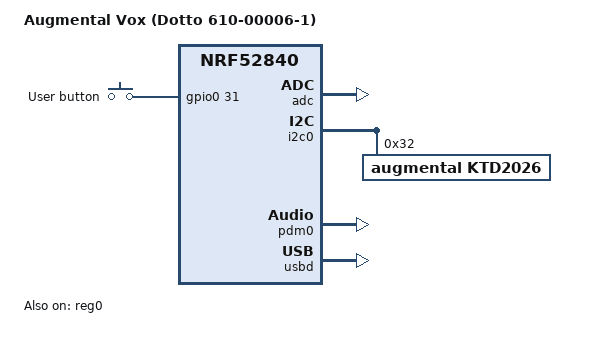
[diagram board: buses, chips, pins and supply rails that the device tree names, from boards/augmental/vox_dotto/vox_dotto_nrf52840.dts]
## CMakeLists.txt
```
#
# Copyright (c) 2018 Nordic Semiconductor
#
# SPDX-License-Identifier: LicenseRef-Nordic-5-Clause
#
cmake_minimum_required(VERSION 3.20.0)

find_package(Zephyr REQUIRED HINTS $ENV{ZEPHYR_BASE})
project(mouthpad_usb)

# Read VERSION file from repository root (two levels up from ncs/app)
set(VERSION_FILE "${CMAKE_CURRENT_SOURCE_DIR}/../../VERSION")
if(EXISTS "${VERSION_FILE}")
  file(READ "${VERSION_FILE}" FIRMWARE_VERSION_STRING)
  string(STRIP "${FIRMWARE_VERSION_STRING}" FIRMWARE_VERSION_STRING)

  # Parse version string (e.g., "0.1.0" -> major=0, minor=1, patch=0)
  string(REGEX MATCH "^([0-9]+)\\.([0-9]+)\\.([0-9]+)" VERSION_MATCH "${FIRMWARE_VERSION_STRING}")
  if(VERSION_MATCH)
    set(VERSION_MAJOR ${CMAKE_MATCH_1})
    set(VERSION_MINOR ${CMAKE_MATCH_2})
    set(VERSION_PATCH ${CMAKE_MATCH_3})

    # Convert to BCD format for USB descriptor (e.g., 0.1.0 -> 0x0010)
    math(EXPR USB_BCD_DEVICE "(${VERSION_MAJOR} << 8) | (${VERSION_MINOR} << 4) | ${VERSION_PATCH}")

    message(STATUS "Firmware version: ${FIRMWARE_VERSION_STRING} (USB bcdDevice: 0x${USB_BCD_DEVICE})")

    # Pass to compiler
    add_definitions(-DFIRMWARE_VERSION_STRING="${FIRMWARE_VERSION_STRING}")
    add_definitions(-DUSB_BCD_DEVICE=${USB_BCD_DEVICE})
  else()
    message(WARNING "Invalid VERSION format: ${FIRMWARE_VERSION_STRING}")
  endif()
else()
  message(WARNING "VERSION file not found at ${VERSION_FILE}")
endif()

target_include_directories(app PRIVATE
  src/mouthpad-proto/nanopb
  src/mouthpad-proto/src/C
  src/opus-1.2.1
)

# SFP-667 (c): Opus encoder (scoped Zephyr library, CELT-only fixed-point).
include(opus.cmake)

# usb_hid.c includes <nrf.h> (MDK SoC registers: NRF_POWER/NRF_USBD). Zephyr puts
# the MDK on the include path for its own libs but not always the app target, and
# its location moved between NCS versions (nrfx/mdk -> nrfx/bsp/stable/mdk). Add
# whichever exists so the app target can resolve <nrf.h>.
foreach(_mdk
        "${ZEPHYR_HAL_NORDIC_MODULE_DIR}/nrfx/mdk"
        "${ZEPHYR_HAL_NORDIC_MODULE_DIR}/nrfx/bsp/stable/mdk")
  if(EXISTS "${_mdk}/nrf.h")
    target_include_directories(app PRIVATE "${_mdk}")
  endif()
endforeach()

# NORDIC SDK APP START
  target_sources(app PRIVATE
    src/ble_transport.c
    src/ble_central.c
    src/ble_nus_client.c
    src/ble_hid.c
    src/ble_hids.c
    src/ble_nus_server.c
    src/ble_bas.c
    src/ble_dis.c
    src/usb_cdc.c
    src/usb_hid.c
    src/sample_usbd_init.c
    src/oled_display.c
    src/buzzer.c
    src/leds.c
    src/led_ktd2026.c
    src/button.c
    src/relay_mic.c
    src/sim_hid_relay.c
    src/main.c
    src/mouthpad-proto/src/C/MouthpadRelay.pb.c
    src/mouthpad-proto/src/C/Microphone.pb.c
    src/mouthpad-proto/nanopb/pb_common.c
    src/mouthpad-proto/nanopb/pb_decode.c
    src/mouthpad-proto/nanopb/pb_encode.c
  )

# Add PSELRESET erase support only for MakerDiary nRF52840 MDK dongle
# This board needs PSELRESET erased to use P0.18 as button GPIO instead of reset pin
if(CONFIG_DONGLE_VARIANT_STRING STREQUAL "makerdiary_nrf52840mdk")
  target_sources(app PRIVATE
    src/pselreset_erase.c
  )
endif()

# NORDIC SDK APP END
```

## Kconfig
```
# Application configuration

config DONGLE_VARIANT_STRING
	string "Dongle hardware variant identifier"
	default ""
	help
	  Hardware variant string (e.g., "nordic", "april") to distinguish
	  between different hardware revisions with the same base board.

# USB device descriptor configuration
config SAMPLE_USBD_PID
	hex "USB Product ID"
	default 0xEEEE

config SAMPLE_USBD_MANUFACTURER
	string "USB Manufacturer String"
	default "Augmental Tech"

config SAMPLE_USBD_PRODUCT
	string "USB Product String"
	default "MouthPad^USB"

config SAMPLE_USBD_MAX_POWER
	int "USB Max Power (mA / 2)"
	default 50

# Enable settings subsystem for persistent storage
config SETTINGS
	default y

# Enable NVS backend for settings (nRF52840 uses regular flash)
config NVS
	default y if !(SOC_FLASH_NRF_RRAM || SOC_FLASH_NRF_MRAM)

# KTD2026 RGB LED driver I2C address. Different parts in the KTD2026 family use
# different fixed addresses: the production Dotto part is 0x32; the KTD2026 dev
# kit is 0x30. Default is the Dotto part; for the dev kit build with the overlay
# `-DEXTRA_CONF_FILE=dev_kit.conf` (which sets CONFIG_KTD2026_I2C_ADDR=0x30).
config KTD2026_I2C_ADDR
	hex "KTD2026 RGB LED driver I2C address"
	default 0x32

source "Kconfig.zephyr"
```

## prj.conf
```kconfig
#
# Copyright (c) 2018 Nordic Semiconductor
#
# SPDX-License-Identifier: LicenseRef-Nordic-5-Clause
#

# Console configuration - REQUIRED for new USB CDC stack
# All console output (printk + logging) goes to CDC1 via zephyr,console chosen node
CONFIG_CONSOLE=y
CONFIG_UART_CONSOLE=y
CONFIG_SERIAL=y

# Shell for DFU command
CONFIG_SHELL=y
CONFIG_SHELL_BACKEND_SERIAL=y
CONFIG_SHELL_PROMPT_UART=""
# Reduce shell verbosity
CONFIG_SHELL_VT100_COLORS=n
CONFIG_SHELL_STATS=n
CONFIG_SHELL_CMDS_RESIZE=n
CONFIG_SHELL_LOG_BACKEND=n
CONFIG_KERNEL_SHELL=n

# Disable old USB stack explicitly
CONFIG_USB_DEVICE_STACK=n
CONFIG_USB_CDC_ACM=n
CONFIG_USB_DEVICE_HID=n

# Enable new USB device stack
CONFIG_USB_DEVICE_STACK_NEXT=y
CONFIG_USBD_HID_SUPPORT=y
CONFIG_USBD_CDC_ACM_CLASS=y

# CDC requirements
CONFIG_UART_LINE_CTRL=y
CONFIG_UART_USE_RUNTIME_CONFIGURE=y
CONFIG_HWINFO=y

# USB device identity (handled by sample_usbd)
# VID: 0x1915 (Nordic Semiconductor - matches ESP32 firmware)
# PID: 0xEEEE (matches ESP32 firmware)
# Note: SAMPLE_USBD_* configs are undefined in this Zephyr version
# USB descriptor configuration is handled in src/sample_usbd_init.c instead
#CONFIG_SAMPLE_USBD_PID=0xEEEE
#CONFIG_SAMPLE_USBD_MANUFACTURER="Augmental Tech"
#CONFIG_SAMPLE_USBD_PRODUCT="MouthPad^USB"
#CONFIG_SAMPLE_USBD_REMOTE_WAKEUP=y
#CONFIG_SAMPLE_USBD_SELF_POWERED=n
#CONFIG_SAMPLE_USBD_MAX_POWER=50

# Serial number from device ID (8 bytes = 16 hex chars, similar to ESP32 MAC)
CONFIG_USBD_HWINFO_DEVID_LENGTH=8

# Enable the BLE stack with GATT Client configuration
CONFIG_BT=y
CONFIG_BT_CENTRAL=y
CONFIG_BT_SMP=y
CONFIG_BT_ATT_TX_COUNT=5
CONFIG_BT_GATT_CLIENT=y

# Enable larger MTU for BLE NUS
CONFIG_BT_L2CAP_TX_MTU=247
CONFIG_BT_BUF_ACL_RX_SIZE=247
CONFIG_BT_BUF_ACL_TX_SIZE=247

# Explicitly disable SC-only mode to allow legacy pairing
CONFIG_BT_SMP_SC_PAIR_ONLY=n

# Enable the BLE modules from NCS
CONFIG_BT_NUS_CLIENT=y
CONFIG_BT_SCAN=y
CONFIG_BT_SCAN_FILTER_ENABLE=y
# UUID filter slots: HID + NUS (+ iOS-sim identity service for the SFP-657 probe)
CONFIG_BT_SCAN_UUID_CNT=3
# SFP-657 probe: a name filter slot to match the iOS sim ("PhonePad^"), since iOS
# may not expose its 128-bit identity UUID to the nRF scanner the way Windows sees it.
CONFIG_BT_SCAN_NAME_CNT=1
# SFP-667: privacy OFF. With RPA + a per-boot IRK, the relay's identity rotated
# and an NVS/bond wipe regenerated the IRK, invalidating the host's (Windows)
# bond and causing reconnect flapping. A stable identity address (FICR static
# random, DE:B7:...) keeps the host bond valid across reflashes.
CONFIG_BT_PRIVACY=n
CONFIG_BT_SCAN_ADDRESS_CNT=8
CONFIG_BT_GATT_DM=y
CONFIG_BT_HOGP=y
CONFIG_BT_BAS_CLIENT=y

# Aggressive scanning for better discovery and connection
# CONFIG_BT_SCAN_WITH_IDENTITY conflicts with BT_PRIVACY
# Note: Scan interval/window are set programmatically in ble_central.c for faster pairing

# Background scan (during active connection for RSSI updates)
CONFIG_BT_BACKGROUND_SCAN_INTERVAL=60
CONFIG_BT_BACKGROUND_SCAN_WINDOW=30

# BLE connection and pairing limits
CONFIG_BT_MAX_CONN=8
# Support up to 4 bonded devices for multi-MouthPad support
CONFIG_BT_MAX_PAIRED=4
CONFIG_BT_KEYS_OVERWRITE_OLDEST=y
CONFIG_BT_GATT_DM_MAX_ATTRS=100
CONFIG_BT_L2CAP_TX_BUF_COUNT=5
CONFIG_BT_HOGP_REPORTS_MAX=32
CONFIG_BT_DEVICE_NAME="MouthPad^USB"

CONFIG_HEAP_MEM_POOL_SIZE=16384

CONFIG_MAIN_STACK_SIZE=4096
CONFIG_SYSTEM_WORKQUEUE_STACK_SIZE=16384

# Enable bonding and persistent settings storage
CONFIG_SETTINGS=y
CONFIG_BT_SETTINGS=y
CONFIG_FLASH=y
CONFIG_FLASH_PAGE_LAYOUT=y
CONFIG_FLASH_MAP=y

# BLE Signal Strength & Connection Improvements
# TX Power: Set to maximum (+8 dBm for nRF52840)
CONFIG_BT_CTLR_TX_PWR_PLUS_8=y

# PHY Support: Enable 2M PHY for better throughput and Coded PHY for longer range
CONFIG_BT_USER_PHY_UPDATE=y
# Auto PHY update OFF: the relay explicitly forces Coded S=8 on the MouthPad link
# (ble_transport.c). The host-initiated auto-update collides with that explicit
# request (HCI "Different Transaction Collision", 0x3a) and the Coded update fails.
# With auto off, the relay owns PHY selection; peers can still initiate their own.
CONFIG_BT_AUTO_PHY_UPDATE=n
CONFIG_BT_CTLR_PHY_2M=y
CONFIG_BT_CTLR_PHY_CODED=y

# Data Length Extension for larger packets
CONFIG_BT_USER_DATA_LEN_UPDATE=y
CONFIG_BT_AUTO_DATA_LEN_UPDATE=y
CONFIG_BT_CTLR_DATA_LENGTH_MAX=247

# Link Layer optimizations for stability
CONFIG_BT_CTLR_CONN_RSSI=y
CONFIG_BT_CTLR_CHAN_SEL_2=y
CONFIG_BT_CTLR_LE_PING=y

# Buffer optimizations
CONFIG_BT_BUF_ACL_RX_SIZE=251
CONFIG_BT_BUF_ACL_TX_SIZE=251

CONFIG_DK_LIBRARY=y

# Console & Logging - matches working /samples/dual_cdc_hid config
# All output goes to CDC1 via zephyr,console chosen node
CONFIG_PRINTK=y
CONFIG_LOG=y
# Use deferred mode for stable enumeration (immediate mode breaks USB)
# CONFIG_LOG_MODE_IMMEDIATE is not set - defaults to deferred
CONFIG_LOG_BUFFER_SIZE=8192

# Enable UART backend for proper CDC logging
CONFIG_LOG_BACKEND_UART=y
# Disable colored output (removes ANSI escape codes)
CONFIG_LOG_BACKEND_FORMAT_TIMESTAMP=n
CONFIG_LOG_BACKEND_SHOW_COLOR=n

# USB logging levels - WRN to reduce control transfer noise
CONFIG_USBD_LOG_LEVEL_WRN=y
CONFIG_USBD_HID_LOG_LEVEL_WRN=y
# CDC_ACM logging must be disabled to prevent recursion (console uses CDC_ACM)
CONFIG_USBD_CDC_ACM_LOG_LEVEL_OFF=y
CONFIG_UDC_DRIVER_LOG_LEVEL_WRN=y

# BLE logging levels - enable for our custom modules
CONFIG_BT_LOG_LEVEL_INF=y
CONFIG_BT_HCI_CORE_LOG_LEVEL_INF=y

CONFIG_ASSERT=y

CONFIG_GPIO=y
CONFIG_INPUT=y
CONFIG_INPUT_MODE_SYNCHRONOUS=y
CONFIG_INPUT_GPIO_KEYS=y

# Display Support
CONFIG_I2C=y
CONFIG_DISPLAY=y
CONFIG_SSD1306=y
CONFIG_DISPLAY_LOG_LEVEL_ERR=y
CONFIG_CHARACTER_FRAMEBUFFER=y

# PWM Support for Buzzer
CONFIG_PWM=y
CONFIG_PWM_LOG_LEVEL_ERR=y

# UF2 Bootloader Support
CONFIG_BUILD_OUTPUT_UF2=y

# SFP-667: BLE peripheral HID output — re-expose the MouthPad's HID over our own
# BLE link so a host (phone/PC) sees this device as an HID mouse, in addition to
# USB. Makes the relay dual-role (central to MouthPad + peripheral HID to host).
CONFIG_BT_PERIPHERAL=y
CONFIG_BT_HIDS=y
CONFIG_BT_HIDS_INPUT_REP_MAX=4
CONFIG_BT_HIDS_DEFAULT_PERM_RW_ENCRYPT=y
CONFIG_BT_GATT_DYNAMIC_DB=y
# Advertise as an HID mouse (appearance 0x03C2 = 962).
CONFIG_BT_DEVICE_APPEARANCE=962
CONFIG_BT_CONN_CTX=y
CONFIG_BT_HIDS_ATTR_MAX=50
# HIDS registers ~9 characteristics; the bt_gatt_pool chrc/UUID pools must fit
# them (shared with DIS/BAS/NUS). Match the NCS peripheral_hids_mouse sample.
CONFIG_BT_GATT_CHRC_POOL_SIZE=20
CONFIG_BT_GATT_UUID16_POOL_SIZE=40
# Concurrent central scanning + connectable peripheral advertising with privacy
# (RPA) requires extended advertising so the advertiser has its own address
# (legacy adv shares the scanner's address -> bt_le_adv_start returns -EACCES).
CONFIG_BT_EXT_ADV=y

# SFP-667: Device Information Service on the relay's BLE peripheral, so a host
# sees a proper identity (HID devices are expected to expose DIS + PnP).
CONFIG_BT_DIS=y
CONFIG_BT_DIS_MANUF="Augmental"
CONFIG_BT_DIS_MODEL="VoxRelay"
CONFIG_BT_DIS_PNP=y
CONFIG_BT_DIS_PNP_VID_SRC=2
CONFIG_BT_DIS_PNP_VID=0x1915
CONFIG_BT_DIS_PNP_PID=0xEEEE
CONFIG_BT_DIS_PNP_VER=0x0001
# Firmware Revision String (0x2A26): the companion's connect path requires it for
# non-simulator devices (initialize_for_connected_peripheral), so the relay must
# present it or the host connection times out.
CONFIG_BT_DIS_FW_REV=y
CONFIG_BT_DIS_FW_REV_STR="0.1.4"

# SFP-667: NUS *server* on the BLE peripheral (carries the MouthpadRelay proto
# stream/commands over BLE, mirroring the USB CDC path). Client is also enabled.
CONFIG_BT_NUS=y
```

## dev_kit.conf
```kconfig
# Dev-kit overlay for the vox_dotto app: the standalone KTD2026 evaluation board
# uses I2C address 0x30, whereas the production Dotto part is 0x32 (the default).
# Build for the dev kit with: -DEXTRA_CONF_FILE=dev_kit.conf
CONFIG_KTD2026_I2C_ADDR=0x30
```

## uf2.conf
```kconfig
# SFP-667 (a): build a .uf2 for the Adafruit nRF52 UF2 bootloader.
# Family ID defaults to 0xada52840 (SOC_NRF52840_QIAA), which the bootloader
# expects, so no explicit family-id needed. App links at the code-partition
# (0x26000) from uf2.overlay.
# Link the app at the code-partition (0x26000) from uf2.overlay — without this
# the app links at 0x0 and the .uf2 base is wrong for the bootloader.
CONFIG_USE_DT_CODE_PARTITION=y
CONFIG_BUILD_OUTPUT_UF2=y
```

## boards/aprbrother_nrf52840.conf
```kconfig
# Board-specific configuration for nRF52840 Dongle with Adafruit UF2 Bootloader
# April Brothers variant (non-standard LED wiring)
# No SoftDevice variant (code starts at 0x1000)
#
# NOTE: Partition layout is defined in pm_static_nrf52840dongle_nrf52840.yml
# NOTE: BOARD_HAS_NRF5_BOOTLOADER=n is set in nrf52840dongle_nrf52840_defconfig

# Dongle variant identifier
CONFIG_DONGLE_VARIANT_STRING="aprbrother_nrf52840"

# Build UF2 for Adafruit bootloader
CONFIG_BUILD_OUTPUT_UF2=y

# Disable MCUboot (we're using UF2 bootloader instead)
CONFIG_BOOTLOADER_MCUBOOT=n

# Nordic bootloader support is board-derived (promptless in NCS v3.3.0) and
# already off for this no-SoftDevice dongle variant, so it isn't set here.

# Enable BT settings with NVS backend for persistent storage
CONFIG_BT_SETTINGS=y

# NVS backend for settings (required for persistence to flash)
CONFIG_SETTINGS_NVS=y

# NVS configuration for storage partition (64KB at 0xee000 from pm_static)
CONFIG_SETTINGS_NVS_SECTOR_COUNT=8
CONFIG_SETTINGS_NVS_SECTOR_SIZE_MULT=1

# Hardware stack protection
CONFIG_HW_STACK_PROTECTION=y

# Disable display support
CONFIG_DISPLAY=n

# Flash and partition support
CONFIG_FLASH=y
CONFIG_FLASH_PAGE_LAYOUT=y
CONFIG_FLASH_MAP=y
CONFIG_USE_DT_CODE_PARTITION=y
```

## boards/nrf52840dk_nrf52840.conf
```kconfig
# nRF52840 DK (PCA10056) bring-up config — J-Link flashed, no UF2/MCUboot.
# Display (SSD1306 OLED) isn't present on the bare DK.
CONFIG_DISPLAY=n
CONFIG_SSD1306=n

# No MCUboot — flat app at 0x0, programmed via J-Link.
CONFIG_BOOTLOADER_MCUBOOT=n

# Persistent BLE bonds via NVS in the board's storage partition.
CONFIG_BT_SETTINGS=y
CONFIG_SETTINGS_NVS=y
CONFIG_FLASH=y
CONFIG_FLASH_PAGE_LAYOUT=y
CONFIG_FLASH_MAP=y

# RTT console/logging for the bench (DK has J-Link RTT).
CONFIG_USE_SEGGER_RTT=y
CONFIG_LOG=y
```

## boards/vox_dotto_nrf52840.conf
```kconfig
# Augmental Vox (Dotto) bring-up config — J-Link flashed flat, no MCUboot.
# Display (SSD1306 OLED) isn't present on Dotto.
CONFIG_DISPLAY=n
CONFIG_SSD1306=n

# No MCUboot — flat app at 0x0, programmed via J-Link.
CONFIG_BOOTLOADER_MCUBOOT=n

# Persistent BLE bonds via NVS in the storage partition.
CONFIG_BT_SETTINGS=y
CONFIG_SETTINGS_NVS=y
CONFIG_FLASH=y
CONFIG_FLASH_PAGE_LAYOUT=y
CONFIG_FLASH_MAP=y

# I2C for the KTD2026 RGB LED driver.
CONFIG_I2C=y

# SFP-667 (c)/(b): PDM microphone via the Zephyr DMIC API (nrfx PDM driver).
CONFIG_AUDIO=y
CONFIG_AUDIO_DMIC=y
CONFIG_AUDIO_DMIC_NRFX_PDM=y

# RTT console/logging for the bench (Dotto SWD via J-Link).
CONFIG_USE_SEGGER_RTT=y
CONFIG_LOG=y
```

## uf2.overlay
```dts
/*
 * SFP-667 (a): flash layout for running under the Adafruit nRF52 UF2 bootloader.
 * Matches Zephyr's nrf52840_partition_uf2_sdv6 (S140 v6 + UF2):
 *   0x00000  SoftDevice region   152 KB  (reserved by the bootloader; unused by
 *                                         this Zephyr app, which has no SoftDevice)
 *   0x26000  Application        ~792 KB
 *   0xEC000  Storage             32 KB   (BLE bonds; untouched by app .uf2)
 *   0xF4000  UF2 bootloader      48 KB
 * Applied only to the UF2 build (EXTRA_DTC_OVERLAY_FILE); the flat J-Link build
 * keeps the default app@0 layout.
 */
/ {
	chosen {
		zephyr,code-partition = &slot0_partition;
	};
};

&flash0 {
	/delete-node/ partitions;

	partitions {
		compatible = "fixed-partitions";
		#address-cells = <1>;
		#size-cells = <1>;

		slot0_partition: partition@26000 {
			label = "image-0";
			reg = <0x00026000 0x000c6000>;
		};

		storage_partition: partition@ec000 {
			label = "storage";
			reg = <0x000ec000 0x00008000>;
		};

		boot_partition: partition@f4000 {
			label = "UF2";
			read-only;
			reg = <0x000f4000 0x0000c000>;
		};
	};
};
```

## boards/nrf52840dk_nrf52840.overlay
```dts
/*
 * Nordic nRF52840 DK (PCA10056) overlay for MouthPad^USB.
 * Bench/bring-up target (e.g. the "Vox" DK) flashed over J-Link — no UF2
 * bootloader, standard partitions, app linked flat at 0x0 (--no-sysbuild).
 *
 * Provides the nodes the app expects that aren't in the stock DK devicetree:
 *  - dual CDC ACM UARTs (cdc_acm_uart0 = NUS tunnel, cdc_acm_uart1 = console)
 *  - a PWM + buzzer-pwm alias + buzzer node (buzzer.c fetches it at compile time
 *    on non-XIAO boards). Mapped to a free pin (P0.04); no physical buzzer on DK.
 * DK LED aliases (led0..3) and sw0 already exist in the board DTS, so leds.c /
 * button.c bind without remapping (4 mono-green LEDs — colors are cosmetic here).
 */

&pinctrl {
	pwm1_default: pwm1_default {
		group1 {
			psels = <NRF_PSEL(PWM_OUT0, 0, 4)>;
		};
	};
	pwm1_sleep: pwm1_sleep {
		group1 {
			psels = <NRF_PSEL(PWM_OUT0, 0, 4)>;
			low-power-enable;
		};
	};
};

&pwm1 {
	status = "okay";
	pinctrl-0 = <&pwm1_default>;
	pinctrl-1 = <&pwm1_sleep>;
	pinctrl-names = "default", "sleep";
};

/ {
	chosen {
		nordic,nus-uart = &cdc_acm_uart0;
		zephyr,console = &cdc_acm_uart1;
		zephyr,shell-uart = &cdc_acm_uart1;
	};

	aliases {
		buzzer-pwm = &pwm1;
	};

	hid_dev_0: hid_dev_0 {
		compatible = "zephyr,hid-device";
		label = "MouthPad^HID";
		protocol-code = "mouse";
		in-report-size = <64>;
		in-polling-period-us = <1000>;
	};

	buzzer {
		compatible = "pwm-buzzer";
		pwms = <&pwm1 0 1000000 PWM_POLARITY_NORMAL>;
		label = "Passive Buzzer";
	};
};

/* Add the two CDC nodes the app expects (cdc_acm_uart0 = NUS, cdc_acm_uart1 =
 * console). The board's default board_cdc_acm_uart (from app.overlay) is left
 * defined but unused — USB-next registers CDC functions in code, not from DT. */
&zephyr_udc0 {
	cdc_acm_uart0: cdc_acm_uart0 {
		compatible = "zephyr,cdc-acm-uart";
		label = "CDC_ACM_0";
	};
	cdc_acm_uart1: cdc_acm_uart1 {
		compatible = "zephyr,cdc-acm-uart";
		label = "CDC_ACM_1";
	};
};
```

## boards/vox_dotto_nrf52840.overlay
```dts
/*
 * Augmental Vox (Dotto) app integration overlay for MouthPad^USB.
 * The board DTS provides the hardware (I2C0 + KTD2026 RGB LED, button, USB,
 * ADC); this adds the app-facing nodes shared with the other targets:
 *  - dual CDC ACM UARTs (cdc_acm_uart0 = NUS tunnel, cdc_acm_uart1 = console)
 *  - the HID device
 *  - a PWM + buzzer alias so buzzer.c builds (P0.4, spare; Dotto uses a haptic,
 *    not a buzzer — wired up later). No physical buzzer.
 */

&pinctrl {
	pwm1_default: pwm1_default {
		group1 {
			psels = <NRF_PSEL(PWM_OUT0, 0, 4)>;
		};
	};
	pwm1_sleep: pwm1_sleep {
		group1 {
			psels = <NRF_PSEL(PWM_OUT0, 0, 4)>;
			low-power-enable;
		};
	};
};

&pwm1 {
	status = "okay";
	pinctrl-0 = <&pwm1_default>;
	pinctrl-1 = <&pwm1_sleep>;
	pinctrl-names = "default", "sleep";
};

/ {
	chosen {
		nordic,nus-uart = &cdc_acm_uart0;
		zephyr,console = &cdc_acm_uart1;
		zephyr,shell-uart = &cdc_acm_uart1;
	};

	aliases {
		buzzer-pwm = &pwm1;
	};

	hid_dev_0: hid_dev_0 {
		compatible = "zephyr,hid-device";
		label = "MouthPad^HID";
		protocol-code = "mouse";
		in-report-size = <64>;
		in-polling-period-us = <1000>;
	};

	buzzer {
		compatible = "pwm-buzzer";
		pwms = <&pwm1 0 1000000 PWM_POLARITY_NORMAL>;
		label = "Passive Buzzer";
	};
};

&zephyr_udc0 {
	cdc_acm_uart0: cdc_acm_uart0 {
		compatible = "zephyr,cdc-acm-uart";
		label = "CDC_ACM_0";
	};
	cdc_acm_uart1: cdc_acm_uart1 {
		compatible = "zephyr,cdc-acm-uart";
		label = "CDC_ACM_1";
	};
};
```

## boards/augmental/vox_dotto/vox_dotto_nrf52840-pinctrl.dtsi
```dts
/*
 * Augmental Vox (Dotto 610-00006-1) pin control.
 * I2C0 carries the KTD2026 RGB LED driver: SDA P0.6, SCL P0.8 (per mouthpadv1
 * config_vox_dotto_610_6_1).
 */

&pinctrl {
	i2c0_default: i2c0_default {
		group1 {
			psels = <NRF_PSEL(TWIM_SDA, 0, 6)>,
				<NRF_PSEL(TWIM_SCL, 0, 8)>;
		};
	};

	i2c0_sleep: i2c0_sleep {
		group1 {
			psels = <NRF_PSEL(TWIM_SDA, 0, 6)>,
				<NRF_PSEL(TWIM_SCL, 0, 8)>;
			low-power-enable;
		};
	};

	/* PDM microphone: CLK P0.05, DIN P0.26 (per config_vox_dotto_610_6_1). */
	pdm0_default: pdm0_default {
		group1 {
			psels = <NRF_PSEL(PDM_CLK, 0, 5)>,
				<NRF_PSEL(PDM_DIN, 0, 26)>;
		};
	};
};
```

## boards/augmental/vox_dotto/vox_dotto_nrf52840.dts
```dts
/*
 * Augmental Vox — Dotto 610-00006-1 (version 9903), nRF52840.
 * Pin map per mouthpadv1 config_vox_dotto_610_6_1. Bring-up target: flashed flat
 * over J-Link (no product bootloader yet). Only the RGB LED driver (KTD2026 over
 * I2C) is wired up so far; the other Dotto peripherals (IMU, touch, barometer,
 * PDM mic, haptic, battery ADC) are documented below but not yet enabled.
 *
 * SPDX-License-Identifier: Apache-2.0
 */

/dts-v1/;
#include <nordic/nrf52840_qiaa.dtsi>
#include <nordic/nrf52840_partition.dtsi>
#include "vox_dotto_nrf52840-pinctrl.dtsi"
#include <zephyr/dt-bindings/input/input-event-codes.h>

/ {
	model = "Augmental Vox (Dotto 610-00006-1)";
	compatible = "augmental,vox-dotto";

	chosen {
		zephyr,sram = &sram0;
		zephyr,flash = &flash0;
		zephyr,code-partition = &slot0_partition;
	};

	buttons {
		compatible = "gpio-keys";

		/* Dotto button_1: P0.31, ACTIVE_HIGH */
		button0: button_0 {
			gpios = <&gpio0 31 GPIO_ACTIVE_HIGH>;
			label = "User button";
			zephyr,code = <INPUT_KEY_0>;
		};
	};

	aliases {
		sw0 = &button0;
		watchdog0 = &wdt0;
	};
};

&reg0 {
	status = "okay";
};

&reg1 {
	regulator-initial-mode = <NRF5X_REG_MODE_DCDC>;
};

&gpiote {
	status = "okay";
};

&gpio0 {
	status = "okay";
};

&gpio1 {
	status = "okay";
};

&adc {
	status = "okay";
};

/* KTD2026 RGB LED driver: SCL P0.8 / SDA P0.6.
 * The address the driver uses comes from CONFIG_KTD2026_I2C_ADDR: 0x32 for the
 * production Dotto part (default), 0x30 for the KTD2026 dev kit (build with
 * -DEXTRA_CONF_FILE=dev_kit.conf). The reg here is just the binding default.
 * Dotto channel map: red = CH3, green = CH2, blue = CH1. */
&i2c0 {
	compatible = "nordic,nrf-twi";
	status = "okay";
	pinctrl-0 = <&i2c0_default>;
	pinctrl-1 = <&i2c0_sleep>;
	pinctrl-names = "default", "sleep";

	ktd2026: ktd2026@32 {
		compatible = "augmental,ktd2026";
		reg = <0x32>;
	};
};

/* PDM microphone (Dotto): CLK P0.05 / DIN P0.26. Driven via the Zephyr DMIC
 * API (nrfx PDM) for the relay's own mic stream. */
&pdm0 {
	status = "okay";
	pinctrl-0 = <&pdm0_default>;
	pinctrl-names = "default";
	clock-source = "PCLK32M_HFXO";
};

zephyr_udc0: &usbd {
	compatible = "nordic,nrf-usbd";
	status = "okay";
};
```

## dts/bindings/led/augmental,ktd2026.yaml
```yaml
# Kinetic KTD2026 3-channel I2C RGB LED driver.
# Driven by the app-level driver in src/led_ktd2026.c (no in-tree Zephyr driver),
# so this binding only needs the I2C address; the channel→color mapping is fixed
# in the driver per the Dotto board (red=CH3, green=CH2, blue=CH1).
#
# SPDX-License-Identifier: Apache-2.0

description: Kinetic KTD2026 3-channel RGB LED driver

compatible: "augmental,ktd2026"

include: [i2c-device.yaml]
```

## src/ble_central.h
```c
/*
 * Copyright (c) 2025 Robert Dale Smith
 * Copyright (c) 2025 Augmental Tech
 *
 * SPDX-License-Identifier: Apache-2.0
 */

#ifndef BLE_CENTRAL_H
#define BLE_CENTRAL_H

#include <zephyr/kernel.h>
#include <zephyr/bluetooth/bluetooth.h>
#include <zephyr/bluetooth/conn.h>
#include <bluetooth/scan.h>

/* BLE Central initialization and control functions */
int ble_central_init(void);
int ble_central_start_scan(void);
int ble_central_stop_scan(void);
/* Disconnect all central (MouthPad) links with the given HCI reason. */
void ble_central_disconnect_all(uint8_t reason);
int ble_central_start_additional_scan(void);  /* Scan for NEW device (ignore already bonded) */

/* Connection management */
struct bt_conn *ble_central_get_default_conn(void);
void ble_central_set_default_conn(struct bt_conn *conn);

/* Callback registration for external modules */
typedef void (*ble_central_connected_cb_t)(struct bt_conn *conn);
typedef void (*ble_central_disconnected_cb_t)(struct bt_conn *conn, uint8_t reason);

void ble_central_register_connected_cb(ble_central_connected_cb_t cb);
void ble_central_register_disconnected_cb(ble_central_disconnected_cb_t cb);

/* Get scan work for external scheduling */
struct k_work *ble_central_get_scan_work(void);

/* Device type detection functions */
bool ble_central_is_nus_device(const struct bt_scan_device_info *device_info);
bool ble_central_is_hid_device(const struct bt_scan_device_info *device_info);
const char *ble_central_get_device_type_string(const struct bt_scan_device_info *device_info);

/* Background scanning for RSSI updates during connections */
int ble_central_start_background_scan_for_rssi(void);

/* Multi-bond support - bonded device structure */
#define MAX_BONDED_DEVICES 4

struct bonded_device {
	bt_addr_le_t addr;
	char name[32];
	uint32_t last_seen;
	bool is_valid;
};

/* Multi-bond management functions */
bool ble_central_is_device_bonded(const bt_addr_le_t *addr);
int ble_central_add_bonded_device(const bt_addr_le_t *addr, const char *name);
int ble_central_remove_bonded_device(const bt_addr_le_t *addr);
int ble_central_get_bonded_devices(struct bonded_device *out_list, size_t max_count);
void ble_central_clear_bonded_device(void);  /* Clears ALL bonds */

/* Get bonded device address and name (returns first bonded device for backwards compatibility) */
bool ble_central_get_bonded_device_addr(bt_addr_le_t *out_addr, char *out_name, size_t name_size);

/* Scanning state query */
bool ble_central_is_scanning(void);

/* Connecting state query */
bool ble_central_is_connecting(void);

/* Connected state query */
bool ble_central_is_connected(void);

/* SFP-657 probe: true if the current central link is the iOS sim (no pairing). */
bool ble_central_is_sim_link(void);

/* Mark that GATT services are ready - transitions from CONNECTING to CONNECTED */
void ble_central_mark_services_ready(void);

#endif /* BLE_CENTRAL_H */
```

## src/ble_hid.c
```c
/*
 * Copyright (c) 2025 Robert Dale Smith
 * Copyright (c) 2025 Augmental Tech
 *
 * SPDX-License-Identifier: Apache-2.0
 */

#include <zephyr/types.h>
#include <stddef.h>
#include <errno.h>
#include <zephyr/kernel.h>

#include <zephyr/bluetooth/bluetooth.h>
#include <zephyr/bluetooth/hci.h>
#include <zephyr/bluetooth/conn.h>
#include <zephyr/bluetooth/uuid.h>
#include <zephyr/bluetooth/gatt.h>
#include <bluetooth/gatt_dm.h>
#include <zephyr/sys/byteorder.h>
#include <bluetooth/scan.h>
#include <bluetooth/services/hogp.h>
#include <dk_buttons_and_leds.h>

#include <zephyr/settings/settings.h>
#include <zephyr/logging/log.h>
#include <zephyr/usb/usbd.h>
#include <zephyr/usb/class/usbd_hid.h>

#include "ble_hid.h"
#include "ble_hids.h"  /* SFP-667: re-emit MouthPad HID out our BLE peripheral */

/* Forward declarations for direct USB access */
extern const struct device *hid_dev;
extern struct k_sem ep_write_sem;

/* Forward declaration for connection state check */
extern bool ble_transport_is_connected(void);

LOG_MODULE_REGISTER(ble_hid, LOG_LEVEL_INF);

/* Callback registration */
static ble_hid_data_received_cb_t data_received_callback = NULL;
static ble_hid_ready_cb_t ready_callback = NULL;

/**
 * Consumer Control usage codes for backwards compatibility.
 * Maps old 1-byte bitmap format to new 16-bit usage selector format.
 * Old firmware used 8 individual bit flags, new descriptor uses usage codes.
 */
static const uint16_t consumer_bitmap_to_usage[] = {
	0x00CD,  /* bit 0: Play/Pause */
	0x0183,  /* bit 1: AL Consumer Control Configuration */
	0x00B5,  /* bit 2: Scan Next Track */
	0x00B6,  /* bit 3: Scan Previous Track */
	0x00EA,  /* bit 4: Volume Decrement */
	0x00E9,  /* bit 5: Volume Increment */
	0x0225,  /* bit 6: AC Forward */
	0x0224,  /* bit 7: AC Back */
};

/**
 * Translate old consumer control bitmap to new 16-bit usage format.
 * Returns the usage code for the first set bit, or 0 if no bits set.
 */
static uint16_t translate_consumer_bitmap(uint8_t bitmap)
{
	if (bitmap == 0) {
		return 0;
	}
	/* Find first set bit and return corresponding usage */
	for (int i = 0; i < 8; i++) {
		if (bitmap & (1 << i)) {
			return consumer_bitmap_to_usage[i];
		}
	}
	return 0;
}

/**
 * Switch between boot protocol and report protocol mode.
 */
#define KEY_BOOTMODE_MASK DK_BTN2_MSK
/**
 * Switch CAPSLOCK state.
 *
 * @note
 * For simplicity of the code it works only in boot mode.
 */
#define KEY_CAPSLOCK_MASK DK_BTN1_MSK
/**
 * Switch CAPSLOCK state with response
 *
 * Write CAPSLOCK with response.
 * Just for testing purposes.
 * The result should be the same like usine @ref KEY_CAPSLOCK_MASK
 */
#define KEY_CAPSLOCK_RSP_MASK DK_BTN3_MSK

static struct bt_hogp hogp;
static uint8_t capslock_state;
static bool hid_ready = false;

static void hids_on_ready(struct k_work *work);
static K_WORK_DEFINE(hids_ready_work, hids_on_ready);

/* HOGP callback functions */
static uint8_t hogp_notify_cb(struct bt_hogp *hogp,
			     struct bt_hogp_rep_info *rep,
			     uint8_t err,
			     const uint8_t *data);
static uint8_t hogp_boot_mouse_report(struct bt_hogp *hogp,
				     struct bt_hogp_rep_info *rep,
				     uint8_t err,
				     const uint8_t *data);
static uint8_t hogp_boot_kbd_report(struct bt_hogp *hogp,
				   struct bt_hogp_rep_info *rep,
				   uint8_t err,
				   const uint8_t *data);
static void hogp_ready_cb(struct bt_hogp *hogp);
static void hogp_prep_fail_cb(struct bt_hogp *hogp, int err);
static void hogp_pm_update_cb(struct bt_hogp *hogp);

/* Button handler functions */
static void button_bootmode(void);
static void button_capslock(void);
static void button_capslock_rsp(void);
static void hidc_write_cb(struct bt_hogp *hidc,
			  struct bt_hogp_rep_info *rep,
			  uint8_t err);
static uint8_t capslock_read_cb(struct bt_hogp *hogp,
			     struct bt_hogp_rep_info *rep,
			     uint8_t err,
			     const uint8_t *data);
static void capslock_write_cb(struct bt_hogp *hogp,
			      struct bt_hogp_rep_info *rep,
			      uint8_t err);

/* Discovery callback functions */
static void discovery_completed_cb(struct bt_gatt_dm *dm, void *context);
static void discovery_service_not_found_cb(struct bt_conn *conn, void *context);
static void discovery_error_found_cb(struct bt_conn *conn, int err, void *context);

static const struct bt_gatt_dm_cb discovery_cb = {
	.completed = discovery_completed_cb,
	.service_not_found = discovery_service_not_found_cb,
	.error_found = discovery_error_found_cb,
};

/* HOGP initialization parameters */
static const struct bt_hogp_init_params hogp_init_params = {
	.ready_cb      = hogp_ready_cb,
	.prep_error_cb = hogp_prep_fail_cb,
	.pm_update_cb  = hogp_pm_update_cb
};

/* HOGP callback implementations */
static uint8_t hogp_notify_cb(struct bt_hogp *hogp,
			     struct bt_hogp_rep_info *rep,
			     uint8_t err,
			     const uint8_t *data)
{
	uint8_t size = bt_hogp_rep_size(rep);
	uint8_t i;

	if (!data) {
		return BT_GATT_ITER_STOP;
	}

	/* Check if still connected - prevent forwarding stale HID data during disconnect */
	if (!ble_transport_is_connected()) {
		LOG_DBG("Ignoring HID report - BLE disconnected");
		return BT_GATT_ITER_STOP;
	}

	LOG_DBG("Notification, id: %u, size: %u, data:",
	       bt_hogp_rep_id(rep),
	       size);
	for (i = 0; i < size; ++i) {
		LOG_DBG(" 0x%x", data[i]);
	}
	LOG_DBG("\n");

	// Handle different report types based on Report ID
	uint8_t report_id = bt_hogp_rep_id(rep);
	
	// Button detection for buzzer feedback - check Report ID 1 (buttons)
	if (report_id == 1 && size >= 1) {
		static uint8_t last_buttons = 0;
		uint8_t current_buttons = data[0];  // Raw BLE data, no Report ID prepended yet
		
		// Detect left click (bit 0) - press only (0->1 transition)
		if ((current_buttons & 0x01) && !(last_buttons & 0x01)) {
			LOG_DBG("LEFT CLICK DETECTED - buzzing");
			extern void buzzer_click_left(void);
			buzzer_click_left();
		}
		
		// Detect right click (bit 1) - press only (0->1 transition)  
		if ((current_buttons & 0x02) && !(last_buttons & 0x02)) {
			LOG_DBG("RIGHT CLICK DETECTED - buzzing");
			extern void buzzer_click_right(void);
			buzzer_click_right();
		}
		
		last_buttons = current_buttons;
	}
	
	// Parse and forward each report ID independently
	if (size >= 1) {
		int ret;

		/* Handle Report ID 3 (Consumer Control) backwards compatibility */
		if (report_id == 3 && size == 1) {
			/* Old firmware sends 1-byte bitmap, translate to 16-bit usage */
			uint16_t usage = translate_consumer_bitmap(data[0]);
			uint8_t consumer_report[3] = {
				0x03,              /* Report ID 3 */
				usage & 0xFF,     /* Usage low byte */
				(usage >> 8) & 0xFF  /* Usage high byte */
			};
			LOG_DBG("Consumer control: bitmap 0x%02x -> usage 0x%04x", data[0], usage);
			ret = hid_device_submit_report(hid_dev, sizeof(consumer_report), consumer_report);
			/* SFP-667: also re-emit out our BLE HID peripheral (payload only,
			 * no report-ID byte — HIDS carries the ID via its report reference). */
			(void)ble_hids_send_report(0x03, &consumer_report[1], 2);
		} else {
			/* Send directly to USB for zero latency */
			uint8_t report_with_id[size + 1];
			report_with_id[0] = report_id;
			for (uint8_t i = 0; i < size; i++) {
				report_with_id[i + 1] = data[i];
			}
			ret = hid_device_submit_report(hid_dev, size + 1, report_with_id);
			/* SFP-667: also re-emit out our BLE HID peripheral. */
			(void)ble_hids_send_report(report_id, data, size);
		}

		if (ret) {
			LOG_ERR("HID write error, %d", ret);
		} else {
			// LOG_DBG("Report %u sent directly to USB", report_id);

			/* Trigger data activity callback for LED indication */
			if (data_received_callback) {
				data_received_callback(data, size);
			}

			/* Mark HID-specific data activity for LED indication */
			extern void ble_transport_mark_hid_data_activity(void);
			ble_transport_mark_hid_data_activity();
		}
	}
	
	return BT_GATT_ITER_CONTINUE;
}

static uint8_t hogp_boot_mouse_report(struct bt_hogp *hogp,
				     struct bt_hogp_rep_info *rep,
				     uint8_t err,
				     const uint8_t *data)
{
	uint8_t size = bt_hogp_rep_size(rep);

	if (!data) {
		return BT_GATT_ITER_STOP;
	}

	/* Check if still connected - prevent forwarding stale HID data during disconnect */
	if (!ble_transport_is_connected()) {
		LOG_DBG("Ignoring HID report - BLE disconnected");
		return BT_GATT_ITER_STOP;
	}

	LOG_HEXDUMP_DBG(data, size, "Boot mouse report:");

	// DEBUG: Analyze the BLE boot mouse data structure
	if (size >= 1) {
		uint8_t buttons = data[0] & 0x07;  // BLE boot mouse uses 3 bits for buttons
		LOG_DBG("BLE BOOT MOUSE: buttons=0x%02X (L:%c R:%c M:%c)%s%d",
			buttons,
			(buttons & 0x01) ? '1' : '0',  // Left
			(buttons & 0x02) ? '1' : '0',  // Right
			(buttons & 0x04) ? '1' : '0',  // Middle
			(size >= 2) ? " X=" : "",
			(size >= 2) ? (int8_t)data[1] : 0);
	}

	/* Forward boot mouse report directly to USB as Report ID 1 */
	/* Convert BLE boot mouse format to USB HID Report ID 1 format */
	uint8_t report_with_id[3];  // Report ID + Buttons + Wheel
	report_with_id[0] = 1;  // Report ID 1 for boot mouse

	/* Convert BLE boot mouse buttons (3 bits) to USB HID buttons (5 bits) */
	uint8_t ble_buttons = data[0] & 0x07;  // Extract 3 button bits from BLE
	uint8_t usb_buttons = ble_buttons;      // Map directly (left=bit0, right=bit1, middle=bit2)
	report_with_id[1] = usb_buttons;        // Buttons byte (5 bits used, 3 bits padding)

	/* Set wheel to 0 for now (BLE boot mouse doesn't have wheel in standard format) */
	report_with_id[2] = 0x00;  // Wheel byte

	/* Send directly to USB for zero latency */
	int ret = hid_device_submit_report(hid_dev, 3, report_with_id);  // Always 3 bytes: Report ID + Buttons + Wheel
	if (ret) {
		LOG_ERR("HID write error, %d", ret);
	} else {
		LOG_DBG("Boot mouse report sent directly to USB");

		/* Mark HID-specific data activity for LED indication */
		extern void ble_transport_mark_hid_data_activity(void);
		ble_transport_mark_hid_data_activity();
	}

	return BT_GATT_ITER_CONTINUE;
}

static uint8_t hogp_boot_kbd_report(struct bt_hogp *hogp,
				   struct bt_hogp_rep_info *rep,
				   uint8_t err,
				   const uint8_t *data)
{
	uint8_t size = bt_hogp_rep_size(rep);
	uint8_t i;

	if (!data) {
		return BT_GATT_ITER_STOP;
	}
	LOG_DBG("Notification, keyboard boot, size: %u, data:", size);
	for (i = 0; i < size; ++i) {
		LOG_DBG(" 0x%x", data[i]);
	}
	LOG_DBG("\n");
	return BT_GATT_ITER_CONTINUE;
}

static void hogp_ready_cb(struct bt_hogp *hogp)
{
	k_work_submit(&hids_ready_work);
}

/* Auto-detect and switch to optimal protocol mode */
/**
 * @brief Auto-detect and switch to optimal HID protocol mode
 * 
 * This function implements automatic protocol mode detection and switching,
 * similar to how operating systems handle HID protocol mode optimization.
 * 
 * Behavior:
 * 1. Detects current protocol mode (BOOT or REPORT)
 * 2. Analyzes device capabilities (BOOT support, REPORT support)
 * 3. Automatically switches to optimal mode:
 *    - If in BOOT mode and REPORT supported → switch to REPORT
 *    - If in REPORT mode but no REPORT support → fallback to BOOT
 *    - If only BOOT supported → stay in BOOT mode
 * 
 * This is called automatically when HID device is ready, and can also
 * be triggered manually via ble_hid_auto_detect_mode().
 */
static void auto_detect_and_switch_mode(void)
{
	enum bt_hids_pm current_mode = bt_hogp_pm_get(&hogp);
	
	LOG_INF("Auto-detecting optimal protocol mode...");
	LOG_INF("Current mode: %s",
	       (current_mode == BT_HIDS_PM_BOOT) ? "BOOT" : "REPORT");
	
	/* Check if device supports REPORT mode */
	bool has_report_support = false;
	struct bt_hogp_rep_info *rep = NULL;
	
	/* Check for any report protocol reports */
	do {
		rep = bt_hogp_rep_next(&hogp, rep);
		if (rep) {
			/* If we have any report protocol reports, device supports REPORT mode */
			has_report_support = true;
			break;
		}
	} while (rep);
	
	/* Also check for boot protocol reports as fallback */
	bool has_boot_support = (hogp.rep_boot.kbd_inp != NULL || 
	                        hogp.rep_boot.mouse_inp != NULL);
	
	LOG_INF("Device capabilities: BOOT=%s, REPORT=%s",
	       has_boot_support ? "YES" : "NO",
	       has_report_support ? "YES" : "NO");
	
	/* Auto-switch logic (similar to OS behavior) */
	if (current_mode == BT_HIDS_PM_BOOT) {
		if (has_report_support) {
			/* Device supports REPORT mode - switch for better features */
			LOG_INF("Switching to REPORT mode for enhanced functionality");
			bt_hogp_pm_update(&hogp, K_SECONDS(5));
		} else if (has_boot_support) {
			/* Device only supports BOOT mode */
			LOG_INF("Device only supports BOOT mode - staying in BOOT mode");
		} else {
			/* No HID reports found */
			LOG_WRN("No HID reports found on device");
		}
	} else if (current_mode == BT_HIDS_PM_REPORT) {
		if (has_report_support) {
			/* Already in optimal mode */
			LOG_INF("Already in optimal REPORT mode");
		} else {
			/* REPORT mode but no report support - fallback to BOOT */
			LOG_INF("REPORT mode but no report support - switching to BOOT mode");
			bt_hogp_pm_update(&hogp, K_SECONDS(5));
		}
	}
}

static void hids_on_ready(struct k_work *work)
{
	int err;
	struct bt_hogp_rep_info *rep = NULL;

	ARG_UNUSED(work);

	LOG_INF("HIDS is ready");

	/* Auto-detect and switch to optimal protocol mode */
	auto_detect_and_switch_mode();

	/* Subscribe to all reports */
	do {
		rep = bt_hogp_rep_next(&hogp, rep);
		if (rep) {
			err = bt_hogp_rep_subscribe(&hogp, rep, hogp_notify_cb);
			if (err) {
				LOG_ERR("Subscribe failed, err: %d", err);
			}
		}
	} while (rep);

	/* Subscribe to boot reports if in boot mode */
	if (bt_hogp_pm_get(&hogp) == BT_HIDS_PM_BOOT) {
		if (hogp.rep_boot.kbd_inp) {
			LOG_INF("Subscribe to boot keyboard report");
			err = bt_hogp_rep_subscribe(&hogp,
							   hogp.rep_boot.kbd_inp,
							   hogp_boot_kbd_report);
			if (err) {
				LOG_ERR("Subscribe error (%d)", err);
			}
		}
		if (hogp.rep_boot.mouse_inp) {
			LOG_INF("Subscribe to boot mouse report");
			err = bt_hogp_rep_subscribe(&hogp,
							   hogp.rep_boot.mouse_inp,
							   hogp_boot_mouse_report);
			if (err) {
				LOG_ERR("Subscribe error (%d)", err);
			}
		}
	} else {
		LOG_INF("In REPORT mode - using report protocol reports only");
	}

	hid_ready = true;
	
	/* Call the registered ready callback */
	if (ready_callback) {
		ready_callback();
	}
}

static void hogp_prep_fail_cb(struct bt_hogp *hogp, int err)
{
	LOG_ERR("HOGP prepare failed, err: %d", err);
}

static void hogp_pm_update_cb(struct bt_hogp *hogp)
{
	enum bt_hids_pm pm = bt_hogp_pm_get(hogp);

	LOG_DBG("HOGP PM update: %d", pm);
}

/* Button handler functions */
static void button_bootmode(void)
{
	enum bt_hids_pm pm = bt_hogp_pm_get(&hogp);
	enum bt_hids_pm new_pm = ((pm == BT_HIDS_PM_BOOT) ? BT_HIDS_PM_REPORT : BT_HIDS_PM_BOOT);

	LOG_INF("Switching HIDS PM from %d to %d", pm, new_pm);
	bt_hogp_pm_update(&hogp, K_SECONDS(5));
}

static void hidc_write_cb(struct bt_hogp *hidc,
			  struct bt_hogp_rep_info *rep,
			  uint8_t err)
{
	LOG_DBG("HOGP write completed");
}

static void button_capslock(void)
{
	if (!hogp.rep_boot.kbd_out) {
		LOG_WRN("HID device does not have Keyboard OUT report");
		return;
	}

	capslock_state = capslock_state ? 0 : 1;
	uint8_t data = capslock_state ? 0x02 : 0;
	int err = bt_hogp_rep_write_wo_rsp(&hogp, hogp.rep_boot.kbd_out,
				       &data, sizeof(data),
				       hidc_write_cb);

	if (err) {
		LOG_ERR("Keyboard data write error (err: %d)", err);
		return;
	}
	LOG_DBG("Caps lock send (val: 0x%x)", data);
}

static uint8_t capslock_read_cb(struct bt_hogp *hogp,
			     struct bt_hogp_rep_info *rep,
			     uint8_t err,
			     const uint8_t *data)
{
	if (err) {
		LOG_ERR("Capslock read error (err: %u)", err);
		return BT_GATT_ITER_STOP;
	}
	if (!data) {
		LOG_DBG("Capslock read - no data");
		return BT_GATT_ITER_STOP;
	}
	LOG_DBG("Received data (size: %u, data[0]: 0x%x)",
	       bt_hogp_rep_size(rep), data[0]);

	return BT_GATT_ITER_STOP;
}

static void capslock_write_cb(struct bt_hogp *hogp,
			      struct bt_hogp_rep_info *rep,
			      uint8_t err)
{
	int ret;

	LOG_DBG("Capslock write result: %u", err);

	ret = bt_hogp_rep_read(hogp, rep, capslock_read_cb);
	if (ret) {
		LOG_ERR("Cannot read capslock value (err: %d)", ret);
	}
}

static void button_capslock_rsp(void)
{
	if (!bt_hogp_ready_check(&hogp)) {
		LOG_WRN("HID device not ready");
		return;
	}
	if (!hogp.rep_boot.kbd_out) {
		LOG_WRN("HID device does not have Keyboard OUT report");
		return;
	}
	int err;
	uint8_t data;

	capslock_state = capslock_state ? 0 : 1;
	data = capslock_state ? 0x02 : 0;
	err = bt_hogp_rep_write(&hogp, hogp.rep_boot.kbd_out, capslock_write_cb,
				&data, sizeof(data));
	if (err) {
		LOG_ERR("Keyboard data write error (err: %d)", err);
		return;
	}
	LOG_DBG("Caps lock send using write with response (val: 0x%x)", data);
}

/* Public API implementations */
int ble_hid_init(void)
{
	LOG_INF("Initializing BLE HID...");
	
	bt_hogp_init(&hogp, &hogp_init_params);
	
	LOG_INF("✓ BLE HID initialized");
	return 0;
}

int ble_hid_discover(struct bt_conn *conn)
{
	int err;
	
	LOG_INF("Starting HID service discovery...");
	
	err = bt_gatt_dm_start(conn, BT_UUID_HIDS, &discovery_cb, &hogp);
	if (err) {
		LOG_ERR("Could not start discovery (err %d)", err);
		return err;
	}
	
	return 0;
}

bool ble_hid_is_ready(void)
{
	return hid_ready;
}

int ble_hid_send_report(const uint8_t *data, uint16_t len)
{
	if (!hid_ready) {
		return -EAGAIN;
	}
	
	// Implementation would go here if needed
	return 0;
}

struct bt_hogp *ble_hid_get_hogp(void)
{
	return &hogp;
}

uint8_t (*ble_hid_get_notify_cb(void))(struct bt_hogp *, struct bt_hogp_rep_info *, uint8_t, const uint8_t *)
{
	return hogp_notify_cb;
}

uint8_t (*ble_hid_get_boot_mouse_cb(void))(struct bt_hogp *, struct bt_hogp_rep_info *, uint8_t, const uint8_t *)
{
	return hogp_boot_mouse_report;
}

uint8_t (*ble_hid_get_boot_kbd_cb(void))(struct bt_hogp *, struct bt_hogp_rep_info *, uint8_t, const uint8_t *)
{
	return hogp_boot_kbd_report;
}

void ble_hid_handle_buttons(uint32_t button_state, uint32_t has_changed)
{
	uint32_t button = button_state & has_changed;

	if (button & KEY_BOOTMODE_MASK) {
		button_bootmode();
	}

	if (button & KEY_CAPSLOCK_MASK) {
		button_capslock();
	}

	if (button & KEY_CAPSLOCK_RSP_MASK) {
		button_capslock_rsp();
	}

	/* Auto-detection trigger (if we had a button) */
	/* This would be triggered by a physical button if available */
	/* For now, we can call this manually via ble_hid_auto_detect_mode() */
}

int ble_hid_register_data_received_cb(ble_hid_data_received_cb_t cb)
{
	data_received_callback = cb;
	return 0;
}

int ble_hid_register_ready_cb(ble_hid_ready_cb_t cb)
{
	ready_callback = cb;
	return 0;
}

/* Manual trigger for auto-detection (for testing) */
int ble_hid_auto_detect_mode(void)
{
	if (!hid_ready) {
		LOG_WRN("HID device not ready for mode detection");
		return -EAGAIN;
	}

	LOG_INF("Manual trigger: Auto-detecting protocol mode");
	auto_detect_and_switch_mode();
	return 0;
}

/* Discovery callback implementations */
static void discovery_completed_cb(struct bt_gatt_dm *dm, void *context)
{
	struct bt_hogp *hogp = context;
	int err;

	LOG_INF("The discovery procedure succeeded");

	bt_gatt_dm_data_print(dm);

	err = bt_hogp_handles_assign(dm, hogp);
	if (err) {
		LOG_ERR("Could not assign HOGP handles (err %d)", err);
	}

	/* CRITICAL: Must release GATT DM data to allow subsequent discoveries */
	err = bt_gatt_dm_data_release(dm);
	if (err) {
		LOG_ERR("Could not release discovery data (err %d)", err);
	}

	LOG_INF("HOGP ready");
}

static void discovery_service_not_found_cb(struct bt_conn *conn, void *context)
{
	LOG_WRN("The service could not be found during the discovery");
}

static void discovery_error_found_cb(struct bt_conn *conn, int err, void *context)
{
	LOG_ERR("The discovery procedure failed with %d", err);
}
```

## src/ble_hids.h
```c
/*
 * Copyright (c) 2026 Augmental Tech
 *
 * SPDX-License-Identifier: Apache-2.0
 */

#ifndef BLE_HIDS_H
#define BLE_HIDS_H

#include <stdint.h>
#include <stdbool.h>

/**
 * @file ble_hids.h
 * @brief BLE peripheral HID output — re-expose the MouthPad's HID over our own
 *        BLE link so a host (phone/PC) sees this device as an HID mouse.
 *
 * This is the BLE counterpart of usb_hid.c: the same MouthPad HID reports that
 * are forwarded to USB are also notified out a BLE HID Service (HOGP). It makes
 * the relay dual-role — central to the MouthPad, peripheral (HID) to a host.
 */

/** @brief Initialize the BLE HID Service and start connectable advertising.
 *  Must be called after the BLE stack is enabled (after ble_transport_init()).
 *  @return 0 on success, negative errno otherwise.
 */
int ble_hids_init(void);

/** @brief Forward one MouthPad HID input report to the connected host.
 *
 * @param report_id  HID report ID (1=buttons, 2=movement, 3=consumer, 4=keyboard).
 * @param data       Report payload WITHOUT the report-ID byte (as delivered by HOGP).
 * @param len        Payload length.
 * @return 0 on success; -ENOTCONN if no host is connected/subscribed; other negative errno.
 */
int ble_hids_send_report(uint8_t report_id, const uint8_t *data, uint16_t len);

/** @brief True while a host is connected to our HID peripheral. */
bool ble_hids_host_connected(void);

#endif /* BLE_HIDS_H */
```

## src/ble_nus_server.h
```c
/*
 * Copyright (c) 2026 Augmental Tech
 *
 * SPDX-License-Identifier: Apache-2.0
 */

#ifndef BLE_NUS_SERVER_H
#define BLE_NUS_SERVER_H

#include <stdint.h>
#include <stdbool.h>

/**
 * @file ble_nus_server.h
 * @brief Nordic UART Service *server* on the relay's BLE peripheral.
 *
 * Carries the MouthpadRelay envelope proto over BLE (the same protocol the relay
 * speaks over USB CDC), so a BLE host can stream MouthPad data and send relay
 * commands. Unlike the CDC byte stream, each NUS write/notification is a discrete
 * packet, so no magic/length/CRC framing is used — the payload is a raw encoded
 * AppToRelayMessage (RX) or RelayToAppMessage (TX).
 *
 * RX is queued and drained from the main loop (ble_nus_server_poll_rx) so the
 * relay command handler never runs on the BT RX thread.
 */

/** @brief Initialize the NUS server (registers the GATT service + RX callback). */
int ble_nus_server_init(void);

/** @brief Notify the connected host with raw bytes (an encoded RelayToAppMessage).
 *  @return 0 on success; -ENOTCONN if no host/subscription; other negative errno. */
int ble_nus_server_send(const uint8_t *data, uint16_t len);

/** @brief True while a host is connected to the NUS server. */
bool ble_nus_server_host_connected(void);

/** @brief Pop one queued RX payload (raw AppToRelayMessage from the host) into
 *  @p out. Returns the byte count, or 0 if the queue is empty. Call from the
 *  main loop. */
uint16_t ble_nus_server_poll_rx(uint8_t *out, uint16_t max_len);

#endif /* BLE_NUS_SERVER_H */
```

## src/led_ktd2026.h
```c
/*
 * Copyright (c) 2026 Augmental Tech
 *
 * SPDX-License-Identifier: Apache-2.0
 *
 * Minimal KTD2026 3-channel I2C RGB LED driver (no in-tree Zephyr driver).
 * Ported from mouthpadv1 technolingus/led_ktd2026.c to the Zephyr I2C API.
 * Active only when the devicetree has an `augmental,ktd2026` node (Vox/Dotto).
 * Channels are 0-based: CH0→LED1, CH1→LED2, CH2→LED3 (IOUT regs + 2-bit ctrl).
 */

#ifndef LED_KTD2026_H_
#define LED_KTD2026_H_

#include <stdbool.h>
#include <stdint.h>

#define KTD2026_CH1 0U
#define KTD2026_CH2 1U
#define KTD2026_CH3 2U

/** True if a KTD2026 is present in the devicetree and the I2C bus is ready. */
bool ktd2026_present(void);

/** Reset, enable always-on, default per-channel current, all channels off. */
int ktd2026_init(void);

/** Drive a channel constantly on / off (0-based channel 0..2). */
int ktd2026_channel_on(uint8_t channel);
int ktd2026_channel_off(uint8_t channel);

/** All three channels off. */
int ktd2026_all_off(void);

#endif /* LED_KTD2026_H_ */
```
